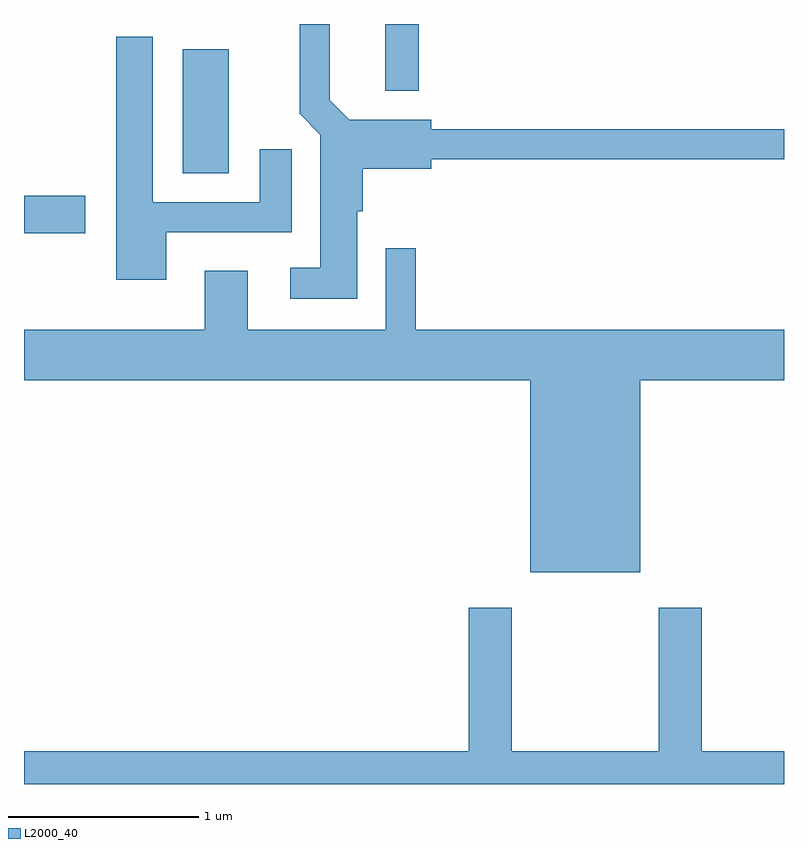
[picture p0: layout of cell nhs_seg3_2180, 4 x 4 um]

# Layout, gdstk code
import gdstk
lib = gdstk.Library(unit=1e-6, precision=1e-09)
def R(c, l, rs):  # rectangles x0, y0, x1, y1
    for r in rs: c.add(gdstk.rectangle(r[:2], r[2:], *l))
def P(c, l, *ps):  # polygons
    for p in ps: c.add(gdstk.Polygon(p, *l))
L2000_40 = (2000, 40)

nhs_seg3_2180 = lib.new_cell('nhs_seg3_2180')
R(nhs_seg3_2180, L2000_40, [(249.611,1126.791,249.934,1126.989), (250.446,1127.106,250.689,1127.759), (251.511,1127.541,251.689,1127.892)])
P(nhs_seg3_2180, L2000_40, [(251.364,1126.906),(251.394,1126.906),(251.394,1127.131),(251.754,1127.131),(251.754,1127.181),(253.611,1127.181),(253.611,1127.339),(251.754,1127.339),(251.754,1127.389),(251.322,1127.389),(251.219,1127.492),(251.219,1127.892),(251.061,1127.892),(251.061,1127.419),(251.171,1127.309),(251.171,1126.609),(251.013,1126.609),(251.013,1126.446),(251.364,1126.446)],
  [(250.359,1126.796),(251.019,1126.796),(251.019,1127.233),(250.851,1127.233),(250.851,1126.954),(250.289,1126.954),(250.289,1127.824),(250.096,1127.824),(250.096,1126.546),(250.359,1126.546)],
  [(252.854,1126.016),(253.611,1126.016),(253.611,1126.284),(251.674,1126.284),(251.674,1126.713),(251.516,1126.713),(251.516,1126.284),(250.789,1126.284),(250.789,1126.594),(250.561,1126.594),(250.561,1126.284),(249.611,1126.284),(249.611,1126.016),(252.276,1126.016),(252.276,1125.006),(252.854,1125.006)],
  [(253.611,1124.064),(253.179,1124.064),(253.179,1124.819),(252.951,1124.819),(252.951,1124.064),(252.179,1124.064),(252.179,1124.819),(251.951,1124.819),(251.951,1124.064),(249.611,1124.064),(249.611,1123.892),(253.611,1123.892)])

lib.write_gds('nhs_seg3_2180.gds')
